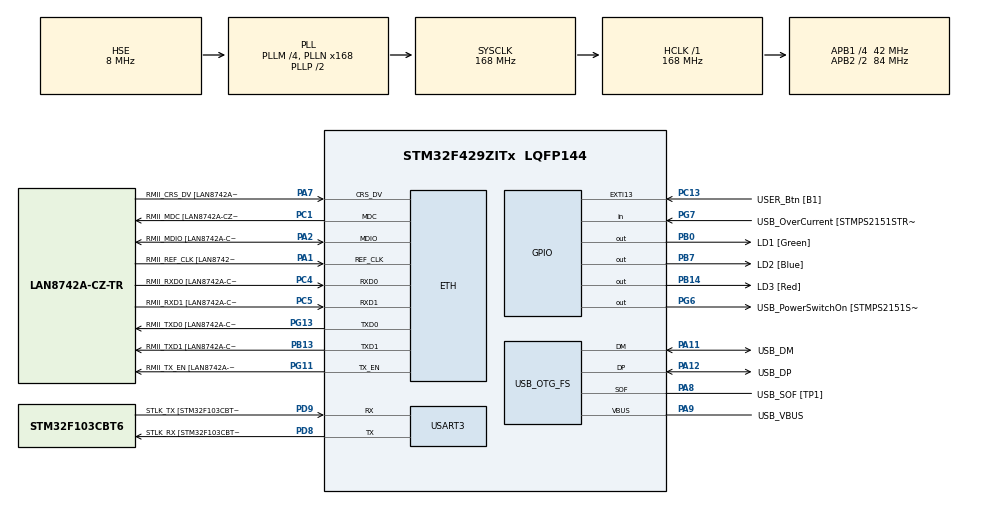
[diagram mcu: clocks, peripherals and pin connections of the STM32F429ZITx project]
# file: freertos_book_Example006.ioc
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ETH.MediaInterface=HAL_ETH_RMII_MODE
ETH.PHY_Name=LAN8742A_PHY_ADDRESS
ETH.PHY_Value=0
ETH.PhyAddress=0
FREERTOS.INCLUDE_vTaskDelayUntil=1
FREERTOS.MEMORY_ALLOCATION=0
FREERTOS.Tasks01=defaultTask,0,128,StartDefaultTask,Default,NULL,Dynamic,NULL,NULL
FREERTOS.configUSE_NEWLIB_REENTRANT=1
Mcu.Family=STM32F4
Mcu.Name=STM32F429ZITx
Mcu.Package=LQFP144
NVIC.PriorityGroup=NVIC_PRIORITYGROUP_4
NVIC.TIM7_IRQn=true\:15\:0\:false\:false\:true\:false\:false\:true\:true
NVIC.TimeBase=TIM7_IRQn
NVIC.TimeBaseIP=TIM7
PA1.GPIO_Label=RMII_REF_CLK [LAN8742A-CZ-TR_REFCLK0]
PA1.Mode=RMII
PA1.Signal=ETH_REF_CLK
PA10.GPIO_Label=USB_ID
PA10.Signal=USB_OTG_FS_ID
PA11.GPIO_Label=USB_DM
PA11.Mode=Device_Only
PA11.Signal=USB_OTG_FS_DM
PA12.GPIO_Label=USB_DP
PA12.Mode=Device_Only
PA12.Signal=USB_OTG_FS_DP
PA13.GPIO_Label=TMS
PA13.Mode=Serial_Wire
PA13.Signal=SYS_JTMS-SWDIO
PA14.GPIO_Label=TCK
PA14.Mode=Serial_Wire
PA14.Signal=SYS_JTCK-SWCLK
PA2.GPIO_Label=RMII_MDIO [LAN8742A-CZ-TR_MDIO]
PA2.Mode=RMII
PA2.Signal=ETH_MDIO
PA7.GPIO_Label=RMII_CRS_DV [LAN8742A-CZ-TR_CRS_DV]
PA7.Mode=RMII
PA7.Signal=ETH_CRS_DV
PA8.GPIO_Label=USB_SOF [TP1]
PA8.Mode=Activate_SOF_FS
PA8.Signal=USB_OTG_FS_SOF
PA9.GPIO_Label=USB_VBUS
PA9.Mode=Activate_VBUS
PA9.Signal=USB_OTG_FS_VBUS
PB0.GPIO_Label=LD1 [Green]
PB0.Signal=GPIO_Output
PB13.GPIO_Label=RMII_TXD1 [LAN8742A-CZ-TR_TXD1]
PB13.Mode=RMII
PB13.Signal=ETH_TXD1
PB14.GPIO_Label=LD3 [Red]
PB14.Signal=GPIO_Output
PB7.GPIO_Label=LD2 [Blue]
PB7.Signal=GPIO_Output
PC1.GPIO_Label=RMII_MDC [LAN8742A-CZ-TR_MDC]
PC1.Mode=RMII
PC1.Signal=ETH_MDC
PC13.GPIO_Label=USER_Btn [B1]
PC13.Signal=GPXTI13
PC14/OSC32_IN.Mode=LSE-External-Oscillator
PC14/OSC32_IN.Signal=RCC_OSC32_IN
PC15/OSC32_OUT.Mode=LSE-External-Oscillator
PC15/OSC32_OUT.Signal=RCC_OSC32_OUT
PC4.GPIO_Label=RMII_RXD0 [LAN8742A-CZ-TR_RXD0]
PC4.Mode=RMII
PC4.Signal=ETH_RXD0
PC5.GPIO_Label=RMII_RXD1 [LAN8742A-CZ-TR_RXD1]
PC5.Mode=RMII
PC5.Signal=ETH_RXD1
PD8.GPIO_Label=STLK_RX [STM32F103CBT6_PA3]
PD8.Mode=Asynchronous
PD8.Signal=USART3_TX
PD9.GPIO_Label=STLK_TX [STM32F103CBT6_PA2]
PD9.Mode=Asynchronous
PD9.Signal=USART3_RX
PG11.GPIO_Label=RMII_TX_EN [LAN8742A-CZ-TR_TXEN]
PG11.Mode=RMII
PG11.Signal=ETH_TX_EN
PG13.GPIO_Label=RMII_TXD0 [LAN8742A-CZ-TR_TXD0]
PG13.Mode=RMII
PG13.Signal=ETH_TXD0
PG6.GPIO_Label=USB_PowerSwitchOn [STMPS2151STR_EN]
PG6.Signal=GPIO_Output
PG7.GPIO_Label=USB_OverCurrent [STMPS2151STR_FAULT]
PG7.Signal=GPIO_Input
PH0/OSC_IN.GPIO_Label=MCO [STM32F103CBT6_PA8]
PH0/OSC_IN.Mode=HSE-External-Clock-Source
PH0/OSC_IN.Signal=RCC_OSC_IN
PH1/OSC_OUT.Mode=HSE-External-Clock-Source
PH1/OSC_OUT.Signal=RCC_OSC_OUT
ProjectManager.HeapSize=0x200
ProjectManager.StackSize=0x400
ProjectManager.TargetToolchain=STM32CubeIDE
RCC.48MHZClocksFreq_Value=48000000
RCC.AHBFreq_Value=168000000
RCC.APB1CLKDivider=RCC_HCLK_DIV4
RCC.APB1Freq_Value=42000000
RCC.APB1TimFreq_Value=84000000
RCC.APB2CLKDivider=RCC_HCLK_DIV2
RCC.APB2Freq_Value=84000000
RCC.APB2TimCLKDivider=2
RCC.APB2TimFreq_Value=168000000
RCC.CortexFreq_Value=168000000
RCC.HCLKFreq_Value=168000000
RCC.HSE_VALUE=8000000
RCC.HSI_VALUE=16000000
RCC.PLLM=4
RCC.PLLMUL=RCC_PLL_MUL9
RCC.PLLN=168
RCC.PLLQ=7
RCC.PRESCALERUSB=RCC_USBCLKSOURCE_PLL_DIV1_5
RCC.SYSCLKFreq_VALUE=168000000
RCC.SYSCLKSource=RCC_SYSCLKSOURCE_PLLCLK
RCC.SYSCLKSourceVirtual=RCC_SYSCLKSOURCE_PLLCLK
RCC.USBFreq_Value=48000000
RCC.VCOOutputFreq_Value=336000000
USART3.VirtualMode=VM_ASYNC
USB_OTG_FS.VirtualMode=Device_Only
VP_FREERTOS_VS_CMSIS_V1.Mode=CMSIS_V1
VP_SYS_VS_tim7.Mode=TIM7
board=NUCLEO-F429ZI

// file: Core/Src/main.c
/* USER CODE BEGIN Header */
/**
  ******************************************************************************
  * @file           : main.c
  * @brief          : Main program body
  ******************************************************************************
  * @attention
  *
  * Copyright (c) 2022 STMicroelectronics.
  * All rights reserved.
  *
  * This software is licensed under terms that can be found in the LICENSE file
  * in the root directory of this software component.
  * If no LICENSE file comes with this software, it is provided AS-IS.
  *
  ******************************************************************************
  */
/* USER CODE END Header */
#include "main.h"
#include "string.h"
#include "cmsis_os.h"

/* USER CODE BEGIN Includes */
/* Standard includes. */
#include <stdio.h>
#include <stdlib.h>

/* Demo includes. */
#include "supportingFunctions.h"

/* USER CODE END Includes */

/* USER CODE BEGIN PM */
/* Define the strings that will be passed in as the task parameters.  These are
defined const and off the stack to ensure they remain valid when the tasks are
executing. */
const char *pcTextForTask1 = "Task 1 is running\r\n";
const char *pcTextForTask2 = "Task 2 is running\r\n";
const char *pcTextForPeriodicTask = "Periodic task is running\r\n";

/* USER CODE END PM */

ETH_TxPacketConfig TxConfig;
ETH_DMADescTypeDef  DMARxDscrTab[ETH_RX_DESC_CNT]; /* Ethernet Rx DMA Descriptors */
ETH_DMADescTypeDef  DMATxDscrTab[ETH_TX_DESC_CNT]; /* Ethernet Tx DMA Descriptors */

ETH_HandleTypeDef heth;

UART_HandleTypeDef huart3;

PCD_HandleTypeDef hpcd_USB_OTG_FS;

osThreadId defaultTaskHandle;

void SystemClock_Config(void);
static void MX_GPIO_Init(void);
static void MX_ETH_Init(void);
static void MX_USART3_UART_Init(void);
static void MX_USB_OTG_FS_PCD_Init(void);
void StartDefaultTask(void const * argument);

/* USER CODE BEGIN PFP */
void vContinuousProcessingTask(void * pvParameters);
void vPeriodicTask(void * pvParameters);

/* USER CODE END PFP */

int main(void)
{
  /* USER CODE BEGIN 1 */
	const char *pcTextForMain = "freertos_book_Example006 is running: Combining blocking and non-blocking tasks\r\n\n";

  /* USER CODE END 1 */

  /* MCU Configuration--------------------------------------------------------*/

  /* Reset of all peripherals, Initializes the Flash interface and the Systick. */
  HAL_Init();

  /* Configure the system clock */
  SystemClock_Config();

  /* Initialize all configured peripherals */
  MX_GPIO_Init();
  MX_ETH_Init();
  MX_USART3_UART_Init();
  MX_USB_OTG_FS_PCD_Init();
  /* USER CODE BEGIN 2 */
	/* Print out the name of this Example. */
	vPrintString( pcTextForMain );

  /* USER CODE END 2 */

  /* Create the thread(s) */
  /* definition and creation of defaultTask */
  osThreadDef(defaultTask, StartDefaultTask, osPriorityNormal, 0, 128);
  defaultTaskHandle = osThreadCreate(osThread(defaultTask), NULL);

  /* USER CODE BEGIN RTOS_THREADS */
  /* add threads, ... */
  	BaseType_t ret;

	/* Task 1 thread at priority 1 */
	ret = xTaskCreate( vContinuousProcessingTask,	/* Pointer to the function thats implement the task. */
					   "Task 1",					/* Text name for the task. This is to facilitate debugging only. */
					   (2 * configMINIMAL_STACK_SIZE),	/* Stack depth in words. 				*/
	                   (void*)pcTextForTask1,    	/* Pass the text to be printed in as the task parameter. */
					   (tskIDLE_PRIORITY + 1UL),	/* This task will run at priority 1. 		*/
		               NULL );                   	/* We are not using the task handle. */

	/* Check the task was created successfully. */
	configASSERT( ret == pdPASS );

	/* Task 2 thread at priority 1 */
	ret = xTaskCreate( vContinuousProcessingTask,	/* Pointer to the function thats implement the task. */
					   "Task 2",					/* Text name for the task. This is to facilitate debugging only. */
					   (2 * configMINIMAL_STACK_SIZE),	/* Stack depth in words. 				*/
	                   (void*)pcTextForTask2,    	/* Pass the text to be printed in as the task parameter. */
					   (tskIDLE_PRIORITY + 1UL),	/* This task will run at priority 1. 		*/
		               NULL );                   	/* We are not using the task handle. */

	/* Check the task was created successfully. */
	configASSERT( ret == pdPASS );

	/* Task 3 thread at priority 2 */
	ret = xTaskCreate( vPeriodicTask,				/* Pointer to the function thats implement the task. */
					   "Task 3",					/* Text name for the task. This is to facilitate debugging only. */
					   (2 * configMINIMAL_STACK_SIZE),	/* Stack depth in words. 				*/
	                   (void*)pcTextForPeriodicTask,	/* Pass the text to be printed in as the task parameter. */
					   (tskIDLE_PRIORITY + 2UL),	/* This task will run at priority 2. 		*/
		               NULL );                   	/* We are not using the task handle. */

	/* Check the task was created successfully. */
	configASSERT( ret == pdPASS );

  /* USER CODE END RTOS_THREADS */

  /* Start scheduler */
  osKernelStart();

  /* We should never get here as control is now taken by the scheduler */
  /* Infinite loop */
  while (1)
  {

  }
}

void SystemClock_Config(void)
{
  RCC_OscInitTypeDef RCC_OscInitStruct = {0};
  RCC_ClkInitTypeDef RCC_ClkInitStruct = {0};

  /** Configure the main internal regulator output voltage
  */
  __HAL_RCC_PWR_CLK_ENABLE();
  __HAL_PWR_VOLTAGESCALING_CONFIG(PWR_REGULATOR_VOLTAGE_SCALE1);

  /** Initializes the RCC Oscillators according to the specified parameters
  * in the RCC_OscInitTypeDef structure.
  */
  RCC_OscInitStruct.OscillatorType = RCC_OSCILLATORTYPE_HSE;
  RCC_OscInitStruct.HSEState = RCC_HSE_BYPASS;
  RCC_OscInitStruct.PLL.PLLState = RCC_PLL_ON;
  RCC_OscInitStruct.PLL.PLLSource = RCC_PLLSOURCE_HSE;
  RCC_OscInitStruct.PLL.PLLM = 4;
  RCC_OscInitStruct.PLL.PLLN = 168;
  RCC_OscInitStruct.PLL.PLLP = RCC_PLLP_DIV2;
  RCC_OscInitStruct.PLL.PLLQ = 7;
  if (HAL_RCC_OscConfig(&RCC_OscInitStruct) != HAL_OK)
  {
    Error_Handler();
  }

  /** Initializes the CPU, AHB and APB buses clocks
  */
  RCC_ClkInitStruct.ClockType = RCC_CLOCKTYPE_HCLK|RCC_CLOCKTYPE_SYSCLK
                              |RCC_CLOCKTYPE_PCLK1|RCC_CLOCKTYPE_PCLK2;
  RCC_ClkInitStruct.SYSCLKSource = RCC_SYSCLKSOURCE_PLLCLK;
  RCC_ClkInitStruct.AHBCLKDivider = RCC_SYSCLK_DIV1;
  RCC_ClkInitStruct.APB1CLKDivider = RCC_HCLK_DIV4;
  RCC_ClkInitStruct.APB2CLKDivider = RCC_HCLK_DIV2;

  if (HAL_RCC_ClockConfig(&RCC_ClkInitStruct, FLASH_LATENCY_5) != HAL_OK)
  {
    Error_Handler();
  }
}

static void MX_ETH_Init(void)
{

   static uint8_t MACAddr[6];

  heth.Instance = ETH;
  MACAddr[0] = 0x00;
  MACAddr[1] = 0x80;
  MACAddr[2] = 0xE1;
  MACAddr[3] = 0x00;
  MACAddr[4] = 0x00;
  MACAddr[5] = 0x00;
  heth.Init.MACAddr = &MACAddr[0];
  heth.Init.MediaInterface = HAL_ETH_RMII_MODE;
  heth.Init.TxDesc = DMATxDscrTab;
  heth.Init.RxDesc = DMARxDscrTab;
  heth.Init.RxBuffLen = 1524;

  if (HAL_ETH_Init(&heth) != HAL_OK)
  {
    Error_Handler();
  }

  memset(&TxConfig, 0 , sizeof(ETH_TxPacketConfig));
  TxConfig.Attributes = ETH_TX_PACKETS_FEATURES_CSUM | ETH_TX_PACKETS_FEATURES_CRCPAD;
  TxConfig.ChecksumCtrl = ETH_CHECKSUM_IPHDR_PAYLOAD_INSERT_PHDR_CALC;
  TxConfig.CRCPadCtrl = ETH_CRC_PAD_INSERT;

}

static void MX_USART3_UART_Init(void)
{

  huart3.Instance = USART3;
  huart3.Init.BaudRate = 115200;
  huart3.Init.WordLength = UART_WORDLENGTH_8B;
  huart3.Init.StopBits = UART_STOPBITS_1;
  huart3.Init.Parity = UART_PARITY_NONE;
  huart3.Init.Mode = UART_MODE_TX_RX;
  huart3.Init.HwFlowCtl = UART_HWCONTROL_NONE;
  huart3.Init.OverSampling = UART_OVERSAMPLING_16;
  if (HAL_UART_Init(&huart3) != HAL_OK)
  {
    Error_Handler();
  }

}

static void MX_USB_OTG_FS_PCD_Init(void)
{

  hpcd_USB_OTG_FS.Instance = USB_OTG_FS;
  hpcd_USB_OTG_FS.Init.dev_endpoints = 4;
  hpcd_USB_OTG_FS.Init.speed = PCD_SPEED_FULL;
  hpcd_USB_OTG_FS.Init.dma_enable = DISABLE;
  hpcd_USB_OTG_FS.Init.phy_itface = PCD_PHY_EMBEDDED;
  hpcd_USB_OTG_FS.Init.Sof_enable = ENABLE;
  hpcd_USB_OTG_FS.Init.low_power_enable = DISABLE;
  hpcd_USB_OTG_FS.Init.lpm_enable = DISABLE;
  hpcd_USB_OTG_FS.Init.vbus_sensing_enable = ENABLE;
  hpcd_USB_OTG_FS.Init.use_dedicated_ep1 = DISABLE;
  if (HAL_PCD_Init(&hpcd_USB_OTG_FS) != HAL_OK)
  {
    Error_Handler();
  }

}

static void MX_GPIO_Init(void)
{
  GPIO_InitTypeDef GPIO_InitStruct = {0};

  /* GPIO Ports Clock Enable */
  __HAL_RCC_GPIOC_CLK_ENABLE();
  __HAL_RCC_GPIOH_CLK_ENABLE();
  __HAL_RCC_GPIOA_CLK_ENABLE();
  __HAL_RCC_GPIOB_CLK_ENABLE();
  __HAL_RCC_GPIOD_CLK_ENABLE();
  __HAL_RCC_GPIOG_CLK_ENABLE();

  /*Configure GPIO pin Output Level */
  HAL_GPIO_WritePin(GPIOB, LD1_Pin|LD3_Pin|LD2_Pin, GPIO_PIN_RESET);

  /*Configure GPIO pin Output Level */
  HAL_GPIO_WritePin(USB_PowerSwitchOn_GPIO_Port, USB_PowerSwitchOn_Pin, GPIO_PIN_RESET);

  /*Configure GPIO pin : USER_Btn_Pin */
  GPIO_InitStruct.Pin = USER_Btn_Pin;
  GPIO_InitStruct.Mode = GPIO_MODE_IT_RISING;
  GPIO_InitStruct.Pull = GPIO_NOPULL;
  HAL_GPIO_Init(USER_Btn_GPIO_Port, &GPIO_InitStruct);

  /*Configure GPIO pins : LD1_Pin LD3_Pin LD2_Pin */
  GPIO_InitStruct.Pin = LD1_Pin|LD3_Pin|LD2_Pin;
  GPIO_InitStruct.Mode = GPIO_MODE_OUTPUT_PP;
  GPIO_InitStruct.Pull = GPIO_NOPULL;
  GPIO_InitStruct.Speed = GPIO_SPEED_FREQ_LOW;
  HAL_GPIO_Init(GPIOB, &GPIO_InitStruct);

  /*Configure GPIO pin : USB_PowerSwitchOn_Pin */
  GPIO_InitStruct.Pin = USB_PowerSwitchOn_Pin;
  GPIO_InitStruct.Mode = GPIO_MODE_OUTPUT_PP;
  GPIO_InitStruct.Pull = GPIO_NOPULL;
  GPIO_InitStruct.Speed = GPIO_SPEED_FREQ_LOW;
  HAL_GPIO_Init(USB_PowerSwitchOn_GPIO_Port, &GPIO_InitStruct);

  /*Configure GPIO pin : USB_OverCurrent_Pin */
  GPIO_InitStruct.Pin = USB_OverCurrent_Pin;
  GPIO_InitStruct.Mode = GPIO_MODE_INPUT;
  GPIO_InitStruct.Pull = GPIO_NOPULL;
  HAL_GPIO_Init(USB_OverCurrent_GPIO_Port, &GPIO_InitStruct);

}

/* USER CODE BEGIN 4 */

/* USER CODE BEGIN Header_vContinuousProcessingTask */
/**
  * @brief  Function implementing the Task1 thread.
  * @param  argument: Not used
  * @retval None
  */
/* USER CODE END Header_vContinuousProcessingTask */
void vContinuousProcessingTask(void * pvParameters)
{
	char *pcTaskName;

	/* The string to print out is passed in via the parameter.  Cast this to a
	character pointer. */
	pcTaskName = ( char * ) pvParameters;

	/* As per most tasks, this task is implemented in an infinite loop. */
	for( ;; )
	{
		/* Print out the name of this task.  This task just does this repeatedly
		without ever blocking or delaying. */
		vPrintString( pcTaskName );
		vTaskDelay( 333UL );
	}
}

/* USER CODE BEGIN Header_vPeriodicTask */
/**
* @brief Function implementing the Task3 thread.
* @param argument: Not used
* @retval None
*/
/* USER CODE END Header_vPeriodicTask */
void vPeriodicTask(void * pvParameters)
{
	TickType_t xLastWakeTime;
	const TickType_t xDelay5ms = pdMS_TO_TICKS( 1000UL );

	/* The xLastWakeTime variable needs to be initialized with the current tick
	count.  Note that this is the only time we access this variable.  From this
	point on xLastWakeTime is managed automatically by the vTaskDelayUntil()
	API function. */
	xLastWakeTime = xTaskGetTickCount();

	/* As per most tasks, this task is implemented in an infinite loop. */
	for( ;; )
	{
		/* Print out the name of this task. */
		vPrintString( "Periodic task is running\r\n" );

		/* We want this task to execute exactly every 5 milliseconds. */
	    vTaskDelayUntil( &xLastWakeTime, xDelay5ms );
	}
}

/* USER CODE END 4 */

void StartDefaultTask(void const * argument)
{
  /* USER CODE BEGIN 5 */
  /* Infinite loop */
  for(;;)
  {
    osDelay(50000);
  }
  /* USER CODE END 5 */
}

void HAL_TIM_PeriodElapsedCallback(TIM_HandleTypeDef *htim)
{
  if (htim->Instance == TIM7) {
    HAL_IncTick();
  }
}

void Error_Handler(void)
{
  __disable_irq();
  while (1)
  {
  }
}
